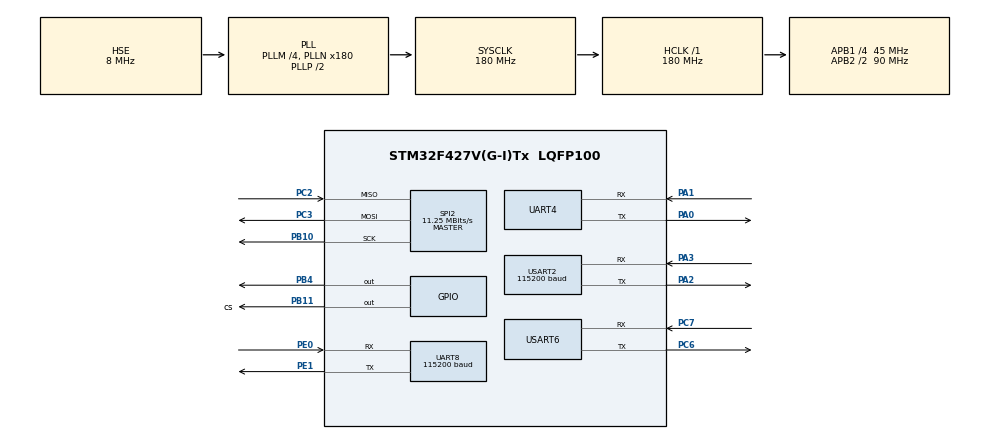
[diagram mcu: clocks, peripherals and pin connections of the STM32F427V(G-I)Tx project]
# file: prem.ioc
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Dma.Request0=UART8_TX
Dma.Request1=UART8_RX
Dma.Request2=USART6_TX
Dma.Request3=USART6_RX
Dma.Request4=UART4_TX
Dma.Request5=UART4_RX
Dma.UART4_RX.5.Direction=DMA_PERIPH_TO_MEMORY
Dma.UART4_RX.5.FIFOMode=DMA_FIFOMODE_DISABLE
Dma.UART4_RX.5.Instance=DMA1_Stream2
Dma.UART4_RX.5.MemDataAlignment=DMA_MDATAALIGN_BYTE
Dma.UART4_RX.5.MemInc=DMA_MINC_ENABLE
Dma.UART4_RX.5.Mode=DMA_NORMAL
Dma.UART4_RX.5.PeriphDataAlignment=DMA_PDATAALIGN_BYTE
Dma.UART4_RX.5.PeriphInc=DMA_PINC_DISABLE
Dma.UART4_RX.5.Priority=DMA_PRIORITY_LOW
Dma.UART4_TX.4.Direction=DMA_MEMORY_TO_PERIPH
Dma.UART4_TX.4.FIFOMode=DMA_FIFOMODE_DISABLE
Dma.UART4_TX.4.Instance=DMA1_Stream4
Dma.UART4_TX.4.MemDataAlignment=DMA_MDATAALIGN_BYTE
Dma.UART4_TX.4.MemInc=DMA_MINC_ENABLE
Dma.UART4_TX.4.Mode=DMA_NORMAL
Dma.UART4_TX.4.PeriphDataAlignment=DMA_PDATAALIGN_BYTE
Dma.UART4_TX.4.PeriphInc=DMA_PINC_DISABLE
Dma.UART4_TX.4.Priority=DMA_PRIORITY_LOW
Dma.UART8_RX.1.Direction=DMA_PERIPH_TO_MEMORY
Dma.UART8_RX.1.FIFOMode=DMA_FIFOMODE_DISABLE
Dma.UART8_RX.1.Instance=DMA1_Stream6
Dma.UART8_RX.1.MemDataAlignment=DMA_MDATAALIGN_BYTE
Dma.UART8_RX.1.MemInc=DMA_MINC_ENABLE
Dma.UART8_RX.1.Mode=DMA_NORMAL
Dma.UART8_RX.1.PeriphDataAlignment=DMA_PDATAALIGN_BYTE
Dma.UART8_RX.1.PeriphInc=DMA_PINC_DISABLE
Dma.UART8_RX.1.Priority=DMA_PRIORITY_LOW
Dma.UART8_TX.0.Direction=DMA_MEMORY_TO_PERIPH
Dma.UART8_TX.0.FIFOMode=DMA_FIFOMODE_DISABLE
Dma.UART8_TX.0.Instance=DMA1_Stream0
Dma.UART8_TX.0.MemDataAlignment=DMA_MDATAALIGN_BYTE
Dma.UART8_TX.0.MemInc=DMA_MINC_ENABLE
Dma.UART8_TX.0.Mode=DMA_NORMAL
Dma.UART8_TX.0.PeriphDataAlignment=DMA_PDATAALIGN_BYTE
Dma.UART8_TX.0.PeriphInc=DMA_PINC_DISABLE
Dma.UART8_TX.0.Priority=DMA_PRIORITY_LOW
Dma.USART6_RX.3.Direction=DMA_PERIPH_TO_MEMORY
Dma.USART6_RX.3.FIFOMode=DMA_FIFOMODE_DISABLE
Dma.USART6_RX.3.Instance=DMA2_Stream1
Dma.USART6_RX.3.MemDataAlignment=DMA_MDATAALIGN_BYTE
Dma.USART6_RX.3.MemInc=DMA_MINC_ENABLE
Dma.USART6_RX.3.Mode=DMA_NORMAL
Dma.USART6_RX.3.PeriphDataAlignment=DMA_PDATAALIGN_BYTE
Dma.USART6_RX.3.PeriphInc=DMA_PINC_DISABLE
Dma.USART6_RX.3.Priority=DMA_PRIORITY_LOW
Dma.USART6_TX.2.Direction=DMA_MEMORY_TO_PERIPH
Dma.USART6_TX.2.FIFOMode=DMA_FIFOMODE_DISABLE
Dma.USART6_TX.2.Instance=DMA2_Stream6
Dma.USART6_TX.2.MemDataAlignment=DMA_MDATAALIGN_BYTE
Dma.USART6_TX.2.MemInc=DMA_MINC_ENABLE
Dma.USART6_TX.2.Mode=DMA_NORMAL
Dma.USART6_TX.2.PeriphDataAlignment=DMA_PDATAALIGN_BYTE
Dma.USART6_TX.2.PeriphInc=DMA_PINC_DISABLE
Dma.USART6_TX.2.Priority=DMA_PRIORITY_LOW
Mcu.Family=STM32F4
Mcu.Name=STM32F427V(G-I)Tx
Mcu.Package=LQFP100
NVIC.DMA1_Stream0_IRQn=true\:0\:0\:false\:false\:true\:false\:true\:true
NVIC.DMA1_Stream2_IRQn=true\:0\:0\:false\:false\:true\:false\:true\:true
NVIC.DMA1_Stream4_IRQn=true\:0\:0\:false\:false\:true\:false\:true\:true
NVIC.DMA1_Stream6_IRQn=true\:0\:0\:false\:false\:true\:false\:true\:true
NVIC.DMA2_Stream1_IRQn=true\:0\:0\:false\:false\:true\:false\:true\:true
NVIC.DMA2_Stream6_IRQn=true\:0\:0\:false\:false\:true\:false\:true\:true
NVIC.PriorityGroup=NVIC_PRIORITYGROUP_4
NVIC.SPI2_IRQn=true\:0\:0\:false\:false\:true\:true\:true\:true
NVIC.UART4_IRQn=true\:0\:0\:false\:false\:true\:true\:true\:true
NVIC.UART8_IRQn=true\:0\:0\:false\:false\:true\:true\:true\:true
NVIC.USART2_IRQn=true\:0\:0\:false\:false\:true\:true\:true\:true
NVIC.USART6_IRQn=true\:0\:0\:false\:false\:true\:true\:true\:true
PA0/WKUP.Mode=Asynchronous
PA0/WKUP.Signal=UART4_TX
PA1.Mode=Asynchronous
PA1.Signal=UART4_RX
PA13.Mode=Serial_Wire
PA13.Signal=SYS_JTMS-SWDIO
PA14.Mode=Serial_Wire
PA14.Signal=SYS_JTCK-SWCLK
PA2.Mode=Asynchronous
PA2.Signal=USART2_TX
PA3.Mode=Asynchronous
PA3.Signal=USART2_RX
PB10.Mode=Full_Duplex_Master
PB10.Signal=SPI2_SCK
PB11.GPIO_Label=cs
PB11.Signal=GPIO_Output
PB4.Signal=GPIO_Output
PC2.Mode=Full_Duplex_Master
PC2.Signal=SPI2_MISO
PC3.Mode=Full_Duplex_Master
PC3.Signal=SPI2_MOSI
PC6.Mode=Asynchronous
PC6.Signal=USART6_TX
PC7.Mode=Asynchronous
PC7.Signal=USART6_RX
PE0.Mode=Asynchronous
PE0.Signal=UART8_RX
PE1.Mode=Asynchronous
PE1.Signal=UART8_TX
PH0/OSC_IN.Mode=HSE-External-Oscillator
PH0/OSC_IN.Signal=RCC_OSC_IN
PH1/OSC_OUT.Mode=HSE-External-Oscillator
PH1/OSC_OUT.Signal=RCC_OSC_OUT
ProjectManager.HeapSize=0x200
ProjectManager.StackSize=0x400
ProjectManager.TargetToolchain=STM32CubeIDE
RCC.48MHZClocksFreq_Value=90000000
RCC.AHBFreq_Value=180000000
RCC.APB1CLKDivider=RCC_HCLK_DIV4
RCC.APB1Freq_Value=45000000
RCC.APB1TimFreq_Value=90000000
RCC.APB2CLKDivider=RCC_HCLK_DIV2
RCC.APB2Freq_Value=90000000
RCC.APB2TimFreq_Value=180000000
RCC.CortexFreq_Value=180000000
RCC.HCLKFreq_Value=180000000
RCC.HSE_VALUE=8000000
RCC.HSI_VALUE=16000000
RCC.LSE_VALUE=32768
RCC.PLLM=4
RCC.PLLN=180
RCC.PLLSourceVirtual=RCC_PLLSOURCE_HSE
RCC.SYSCLKFreq_VALUE=180000000
RCC.SYSCLKSource=RCC_SYSCLKSOURCE_PLLCLK
RCC.VCOOutputFreq_Value=360000000
SPI2.BaudRatePrescaler=SPI_BAUDRATEPRESCALER_4
SPI2.CalculateBaudRate=11.25 MBits/s
SPI2.Direction=SPI_DIRECTION_2LINES
SPI2.Mode=SPI_MODE_MASTER
SPI2.VirtualType=VM_MASTER
UART4.VirtualMode=Asynchronous
UART8.BaudRate=115200
UART8.VirtualMode=Asynchronous
USART2.BaudRate=115200
USART2.VirtualMode=VM_ASYNC
USART6.VirtualMode=VM_ASYNC
board=custom

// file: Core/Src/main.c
/* USER CODE BEGIN Header */
/**
 ******************************************************************************
 * @file           : main.c
 * @brief          : Main program body
 ******************************************************************************
 * @attention
 *
 * Copyright (c) 2024 STMicroelectronics.
 * All rights reserved.
 *
 * This software is licensed under terms that can be found in the LICENSE file
 * in the root directory of this software component.
 * If no LICENSE file comes with this software, it is provided AS-IS.
 *
 ******************************************************************************
 */
/* USER CODE END Header */
#include "main.h"

/* USER CODE BEGIN Includes */
#include <stdarg.h>
/* USER CODE END Includes */

/* USER CODE BEGIN PD */
#define DEBUG_UART1 huart2
#define RGB_UART1 huart8
#define NIR_UART1 huart6
#define OBC_UART1 huart4
/* USER CODE END PD */

SPI_HandleTypeDef hspi2;

UART_HandleTypeDef huart4;
UART_HandleTypeDef huart8;
UART_HandleTypeDef huart2;
UART_HandleTypeDef huart6;
DMA_HandleTypeDef hdma_uart4_tx;
DMA_HandleTypeDef hdma_uart4_rx;
DMA_HandleTypeDef hdma_uart8_tx;
DMA_HandleTypeDef hdma_uart8_rx;
DMA_HandleTypeDef hdma_usart6_tx;
DMA_HandleTypeDef hdma_usart6_rx;

/* USER CODE BEGIN PV */
uint8_t rgb_img1 = 0;
uint8_t *data_rec1;
uint32_t ptr1;
uint8_t Whole_Img_RGB[18000] = { '\0' };
uint8_t OBC_CMD_RX1[7];
uint8_t obc_ok =0;
uint8_t OBC_RX_FLAG1 = 0;
uint8_t OBC_TX_FLAG1 = 0;
uint8_t obc_data1, rx_data1[7], i1;

/* USER CODE END PV */

void SystemClock_Config(void);
static void MX_GPIO_Init(void);
static void MX_DMA_Init(void);
static void MX_UART8_Init(void);
static void MX_USART2_UART_Init(void);
static void MX_USART6_UART_Init(void);
static void MX_UART4_Init(void);
static void MX_SPI2_Init(void);
/* USER CODE BEGIN PFP */
int buffersize(char *buff);
void myprintf(const char *fmt, ...);

void HAL_UART_RxCpltCallback(UART_HandleTypeDef *huart) {
	if (huart == &RGB_UART1) {

//		if (HAL_UART_Receive(&huart8, rgb_img_size, sizeof(rgb_img_size), 3000)
//				== HAL_OK) {
//			HAL_UART_Transmit(&huart2, "RGB IMAGE SIZE:",
//					sizeof("RGB IMAGE SIZE:"), 1000);
//			HAL_UART_Transmit(&huart2, rgb_img_size, sizeof(rgb_img_size),
//					1000);
//			ptr = atoi((char*) rgb_img_size);
			rgb_img1 = 1;

			HAL_UART_Receive_DMA(&huart8, Whole_Img_RGB, ptr1);
			int loop = 0;

			char log1[20];
			uint16_t data_size = 4000;
			uint8_t temp[data_size];
			loop = ptr1 / data_size;
			HAL_UART_Transmit(&huart2, "\n\n********Reading Image data****\n",
					sizeof("\n\n********Reading Image data****\n") - 1, 1000);

			if (Whole_Img_RGB[ptr1 - 2] == 0xFF
					&& Whole_Img_RGB[ptr1 - 1] == 0xD9) {
				myprintf(
						"End marker (0xFF, 0xD9) detected, Image received successfully.\n");
								obc_ok = 0;
			} else {
				myprintf(
						"Warning: End marker (0xFF, 0xD9) not found. Data might be incomplete.\n");
			}
			rgb_img1 = 0;
			myprintf("Ready to receive next image size.\n");

}
void OBC_HANDSHAKE1() {
	while (OBC_RX_FLAG1 != 1) {
		if (HAL_UART_Receive(&huart4, &obc_data1, 1, 1000) == HAL_OK) {
			HAL_UART_Transmit(&DEBUG_UART1, &obc_data1, 1, 100);
			rx_data1[i1++] = obc_data1;
			i1 = i1 % 8;
			if (i1 == 7)
				OBC_RX_FLAG1 = 1;
		}

	}
	if (OBC_RX_FLAG1 == 1) {
		HAL_UART_Transmit(&huart4, rx_data1, sizeof(rx_data1), 1000);
		HAL_UART_Transmit(&DEBUG_UART1, &rx_data1, 1, 100);
	}
}

uint32_t IMAGE_CAPTURE1() {
	uint8_t CAM_tx[] = { 'C', 'A', 'M', 'O', 'N' };

	uint32_t size1 = 0;
	uint8_t rgb_img_size[6];
	data_rec1 = Whole_Img_RGB;
	char log1[30];
	UART_Flush(&huart2);
	UART_Flush(&huart8);
	UART_Flush_DMA(&huart8);
	HAL_UART_Transmit(&RGB_UART1, CAM_tx, sizeof(CAM_tx), 1000);
//	HAL_UART_Transmit(&NIR_UART1, CAM_tx, sizeof(CAM_tx), 1000);

    if (HAL_UART_Receive(&huart8, rgb_img_size, sizeof(rgb_img_size), 5000) == HAL_OK) {
    	HAL_UART_Transmit(&huart2, "RGB IMAGE SIZE:", sizeof("RGB IMAGE SIZE:"), 1000);
    	HAL_UART_Transmit(&huart2, rgb_img_size, sizeof(rgb_img_size), 1000);
        ptr1 = atoi((char*) rgb_img_size);
//        Whole_Img_RGB = (uint8_t*) malloc(ptr1);
        HAL_UART_Receive_DMA(&huart8, Whole_Img_RGB, ptr1);

	if (rgb_img1 == 1){
				int len = snprintf(log1, sizeof(log1), " %lu bytes\n", ptr1);
				HAL_UART_Transmit(&huart4, (uint8_t*) "Image size is: ",
						sizeof("Image size is: "), 1000);
				HAL_UART_Transmit(&huart4, (uint8_t*) log1, len, 1000);

	}

	}

//		HAL_UART_Receive_DMA(&RGB_UART1, rrr, ptr1);
//		if(HAL_UART_Receive(&RGB_UART1, rrr, ptr1, 10000) == HAL_OK){
////					HAL_UART_Transmit(&RGB_UART, data_rec, ptr,1000);
//			sprintf(log1 , "data size : %d received\n", ptr1);
//				HAL_UART_Transmit(&DEBUG_UART1,log1, sizeof(log1), 1000);
//				}

//		do{
//			if(HAL_UART_Receive(&RGB_UART1, temp, sizeof(temp),1000) == HAL_OK){
//
////				rrr[loop++]=  temp;
//				loop--;
////				  sprintf(log1 , "%d \0", loop);
//				HAL_UART_Transmit(&DEBUG_UART1, temp, sizeof(temp), 1000);
//			}
//		}while(loop>0);
////		loop =ptr1%10;
//		do{
//
//			if(HAL_UART_Receive(&RGB_UART1, temp, sizeof(temp),1000) == HAL_OK){
//
//			//				rrr[loop++]=  temp;
////							loop--;
//			//				  sprintf(log1 , "%d \0", loop);
//							HAL_UART_Transmit(&DEBUG_UART1, temp, sizeof(temp), 1000);
//
//							if(temp == 0xd9) break;
//						}
//		}while(1);
//		if (HAL_OK == HAL_UART_Receive_DMA(&huart8, rrr, ptr1-2)) {
//

//			sprintf(log1 , "************************\n\n BUffer data size : %d received\n", ptr1);
//		HAL_UART_Transmit(&DEBUG_UART1,log1, sizeof(log1), 1000);

//		HAL_UART_Transmit(&DEBUG_UART1, rrr, ptr1-1, 1000);
//		}
//		RGB_CAM = 1;
		//HAL_Delay(20000);

	}
}
void OCP_EN1() {
	HAL_GPIO_WritePin(GPIOB, GPIO_PIN_4, GPIO_PIN_SET);
	HAL_Delay(100);
}
void OCP_DISABLE() {
	HAL_GPIO_WritePin(GPIOB, GPIO_PIN_4, GPIO_PIN_RESET);
	HAL_Delay(100);
}

void UART_Flush(UART_HandleTypeDef *huart) {
	__HAL_UART_FLUSH_DRREGISTER(huart);
}
void UART_Flush_DMA(UART_HandleTypeDef *huart) {
	// Disable UART DMA request
	__HAL_UART_DISABLE_IT(huart, UART_IT_RXNE);

	// Abort any ongoing UART reception via DMA
	HAL_UART_AbortReceive(huart);

	// Reset the UART receive state
	huart->RxState = HAL_UART_STATE_READY;
}

/* USER CODE END PFP */

int main(void)
{

  /* MCU Configuration--------------------------------------------------------*/

  /* Reset of all peripherals, Initializes the Flash interface and the Systick. */
  HAL_Init();

  /* Configure the system clock */
  SystemClock_Config();

  /* Initialize all configured peripherals */
  MX_GPIO_Init();
  MX_DMA_Init();
  MX_UART8_Init();
  MX_USART2_UART_Init();
  MX_USART6_UART_Init();
  MX_UART4_Init();
  MX_SPI2_Init();
  /* USER CODE BEGIN 2 */
	HAL_UART_Transmit(&huart2, (uint8_t*) "Camera is starting",
			sizeof("Camera is starting"), 1000);

  /* USER CODE END 2 */

  /* Infinite loop */
  /* USER CODE BEGIN WHILE */
	while (1) {

//
//		OBC_HANDSHAKE1();
//		OBC_RX_FLAG1 = 0;
//
//		do {
//			if (HAL_UART_Receive(&OBC_UART1, OBC_CMD_RX1, 7, 1000) == HAL_OK) {
//				UART_Flush(&huart4);
//
//				if (OBC_CMD_RX1[0] == 0x53 && OBC_CMD_RX1[1] == 0x0C
//						&& OBC_CMD_RX1[2] == 0x0A && OBC_CMD_RX1[3] == 0X0e
//						&& OBC_CMD_RX1[4] == 0X01 && OBC_CMD_RX1[5] == 0X7e) {
//					HAL_UART_Transmit(&OBC_UART1, OBC_CMD_RX1,
//							sizeof(OBC_CMD_RX1), 1000);
////									OCP_EN1();
//					OBC_RX_FLAG1 = 1;
//					break;
//				}
//			}
//		} while (1);
//		myprintf("Data received from OBC\r\n");
//		HAL_Delay(2000);
		//		while (!OBC_RX_FLAG) {
//		//			myprintf("waiting for command from OBC.\r\n");
//		//			HAL_Delay(1000);
//		//		}
		OCP_EN1();
		IMAGE_CAPTURE1();
//		if (obc_ok == 1){
//			//HAL_UART_Transmit(&OBC_UART1,rrr, sizeof(rrr),1000);
//		}
//		HAL_Delay(1000);

//		IMAGE_CAPTURE1();
    /* USER CODE END WHILE */

	}
}

void SystemClock_Config(void)
{
  RCC_OscInitTypeDef RCC_OscInitStruct = {0};
  RCC_ClkInitTypeDef RCC_ClkInitStruct = {0};

  /** Configure the main internal regulator output voltage
  */
  __HAL_RCC_PWR_CLK_ENABLE();
  __HAL_PWR_VOLTAGESCALING_CONFIG(PWR_REGULATOR_VOLTAGE_SCALE1);

  /** Initializes the RCC Oscillators according to the specified parameters
  * in the RCC_OscInitTypeDef structure.
  */
  RCC_OscInitStruct.OscillatorType = RCC_OSCILLATORTYPE_HSE;
  RCC_OscInitStruct.HSEState = RCC_HSE_ON;
  RCC_OscInitStruct.PLL.PLLState = RCC_PLL_ON;
  RCC_OscInitStruct.PLL.PLLSource = RCC_PLLSOURCE_HSE;
  RCC_OscInitStruct.PLL.PLLM = 4;
  RCC_OscInitStruct.PLL.PLLN = 180;
  RCC_OscInitStruct.PLL.PLLP = RCC_PLLP_DIV2;
  RCC_OscInitStruct.PLL.PLLQ = 4;
  if (HAL_RCC_OscConfig(&RCC_OscInitStruct) != HAL_OK)
  {
    Error_Handler();
  }

  /** Activate the Over-Drive mode
  */
  if (HAL_PWREx_EnableOverDrive() != HAL_OK)
  {
    Error_Handler();
  }

  /** Initializes the CPU, AHB and APB buses clocks
  */
  RCC_ClkInitStruct.ClockType = RCC_CLOCKTYPE_HCLK|RCC_CLOCKTYPE_SYSCLK
                              |RCC_CLOCKTYPE_PCLK1|RCC_CLOCKTYPE_PCLK2;
  RCC_ClkInitStruct.SYSCLKSource = RCC_SYSCLKSOURCE_PLLCLK;
  RCC_ClkInitStruct.AHBCLKDivider = RCC_SYSCLK_DIV1;
  RCC_ClkInitStruct.APB1CLKDivider = RCC_HCLK_DIV4;
  RCC_ClkInitStruct.APB2CLKDivider = RCC_HCLK_DIV2;

  if (HAL_RCC_ClockConfig(&RCC_ClkInitStruct, FLASH_LATENCY_5) != HAL_OK)
  {
    Error_Handler();
  }
}

static void MX_SPI2_Init(void)
{

  /* SPI2 parameter configuration*/
  hspi2.Instance = SPI2;
  hspi2.Init.Mode = SPI_MODE_MASTER;
  hspi2.Init.Direction = SPI_DIRECTION_2LINES;
  hspi2.Init.DataSize = SPI_DATASIZE_8BIT;
  hspi2.Init.CLKPolarity = SPI_POLARITY_LOW;
  hspi2.Init.CLKPhase = SPI_PHASE_1EDGE;
  hspi2.Init.NSS = SPI_NSS_SOFT;
  hspi2.Init.BaudRatePrescaler = SPI_BAUDRATEPRESCALER_4;
  hspi2.Init.FirstBit = SPI_FIRSTBIT_MSB;
  hspi2.Init.TIMode = SPI_TIMODE_DISABLE;
  hspi2.Init.CRCCalculation = SPI_CRCCALCULATION_DISABLE;
  hspi2.Init.CRCPolynomial = 10;
  if (HAL_SPI_Init(&hspi2) != HAL_OK)
  {
    Error_Handler();
  }

}

static void MX_UART4_Init(void)
{

  huart4.Instance = UART4;
  huart4.Init.BaudRate = 115200;
  huart4.Init.WordLength = UART_WORDLENGTH_8B;
  huart4.Init.StopBits = UART_STOPBITS_1;
  huart4.Init.Parity = UART_PARITY_NONE;
  huart4.Init.Mode = UART_MODE_TX_RX;
  huart4.Init.HwFlowCtl = UART_HWCONTROL_NONE;
  huart4.Init.OverSampling = UART_OVERSAMPLING_16;
  if (HAL_UART_Init(&huart4) != HAL_OK)
  {
    Error_Handler();
  }

}

static void MX_UART8_Init(void)
{

  huart8.Instance = UART8;
  huart8.Init.BaudRate = 115200;
  huart8.Init.WordLength = UART_WORDLENGTH_8B;
  huart8.Init.StopBits = UART_STOPBITS_1;
  huart8.Init.Parity = UART_PARITY_NONE;
  huart8.Init.Mode = UART_MODE_TX_RX;
  huart8.Init.HwFlowCtl = UART_HWCONTROL_NONE;
  huart8.Init.OverSampling = UART_OVERSAMPLING_16;
  if (HAL_UART_Init(&huart8) != HAL_OK)
  {
    Error_Handler();
  }

}

static void MX_USART2_UART_Init(void)
{

  huart2.Instance = USART2;
  huart2.Init.BaudRate = 115200;
  huart2.Init.WordLength = UART_WORDLENGTH_8B;
  huart2.Init.StopBits = UART_STOPBITS_1;
  huart2.Init.Parity = UART_PARITY_NONE;
  huart2.Init.Mode = UART_MODE_TX_RX;
  huart2.Init.HwFlowCtl = UART_HWCONTROL_NONE;
  huart2.Init.OverSampling = UART_OVERSAMPLING_16;
  if (HAL_UART_Init(&huart2) != HAL_OK)
  {
    Error_Handler();
  }

}

static void MX_USART6_UART_Init(void)
{

  huart6.Instance = USART6;
  huart6.Init.BaudRate = 115200;
  huart6.Init.WordLength = UART_WORDLENGTH_8B;
  huart6.Init.StopBits = UART_STOPBITS_1;
  huart6.Init.Parity = UART_PARITY_NONE;
  huart6.Init.Mode = UART_MODE_TX_RX;
  huart6.Init.HwFlowCtl = UART_HWCONTROL_NONE;
  huart6.Init.OverSampling = UART_OVERSAMPLING_16;
  if (HAL_UART_Init(&huart6) != HAL_OK)
  {
    Error_Handler();
  }

}

static void MX_DMA_Init(void)
{

  /* DMA controller clock enable */
  __HAL_RCC_DMA1_CLK_ENABLE();
  __HAL_RCC_DMA2_CLK_ENABLE();

  /* DMA interrupt init */
  /* DMA1_Stream0_IRQn interrupt configuration */
  HAL_NVIC_SetPriority(DMA1_Stream0_IRQn, 0, 0);
  HAL_NVIC_EnableIRQ(DMA1_Stream0_IRQn);
  /* DMA1_Stream2_IRQn interrupt configuration */
  HAL_NVIC_SetPriority(DMA1_Stream2_IRQn, 0, 0);
  HAL_NVIC_EnableIRQ(DMA1_Stream2_IRQn);
  /* DMA1_Stream4_IRQn interrupt configuration */
  HAL_NVIC_SetPriority(DMA1_Stream4_IRQn, 0, 0);
  HAL_NVIC_EnableIRQ(DMA1_Stream4_IRQn);
  /* DMA1_Stream6_IRQn interrupt configuration */
  HAL_NVIC_SetPriority(DMA1_Stream6_IRQn, 0, 0);
  HAL_NVIC_EnableIRQ(DMA1_Stream6_IRQn);
  /* DMA2_Stream1_IRQn interrupt configuration */
  HAL_NVIC_SetPriority(DMA2_Stream1_IRQn, 0, 0);
  HAL_NVIC_EnableIRQ(DMA2_Stream1_IRQn);
  /* DMA2_Stream6_IRQn interrupt configuration */
  HAL_NVIC_SetPriority(DMA2_Stream6_IRQn, 0, 0);
  HAL_NVIC_EnableIRQ(DMA2_Stream6_IRQn);

}

static void MX_GPIO_Init(void)
{
  GPIO_InitTypeDef GPIO_InitStruct = {0};

  /* GPIO Ports Clock Enable */
  __HAL_RCC_GPIOH_CLK_ENABLE();
  __HAL_RCC_GPIOC_CLK_ENABLE();
  __HAL_RCC_GPIOA_CLK_ENABLE();
  __HAL_RCC_GPIOB_CLK_ENABLE();
  __HAL_RCC_GPIOE_CLK_ENABLE();

  /*Configure GPIO pin Output Level */
  HAL_GPIO_WritePin(GPIOB, cs_Pin|GPIO_PIN_4, GPIO_PIN_RESET);

  /*Configure GPIO pins : cs_Pin PB4 */
  GPIO_InitStruct.Pin = cs_Pin|GPIO_PIN_4;
  GPIO_InitStruct.Mode = GPIO_MODE_OUTPUT_PP;
  GPIO_InitStruct.Pull = GPIO_NOPULL;
  GPIO_InitStruct.Speed = GPIO_SPEED_FREQ_LOW;
  HAL_GPIO_Init(GPIOB, &GPIO_InitStruct);

}

void Error_Handler(void)
{
	__disable_irq();
	while (1) {
	}
}
